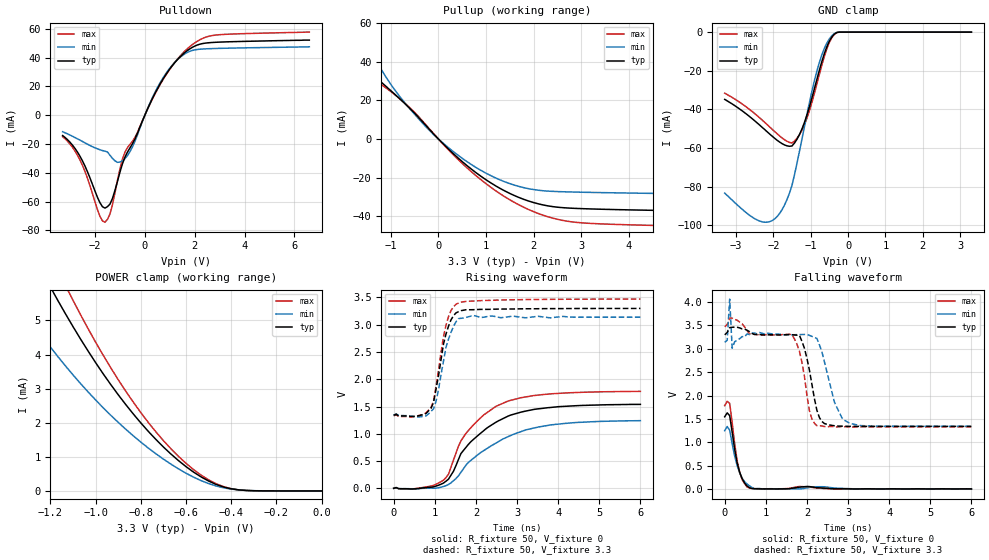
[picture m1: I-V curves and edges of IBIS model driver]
| IBIS file test.ibs created by PYS2IBIS3
| Missouri S&T EMC Lab
[IBIS Ver] 6.0
[File Name] test.ibs
[File Rev] 0
[Date] November 17, 2025
[Source] Netlist generated by Grok
[Notes] I really wouldn't try to use this driver. It's really bad.
 You can put blank lines in any of these sections.
[Disclaimer] This file is only for demonstration purposes. It describes a really crummy driver.
[Copyright] Missouri S&T EMC Lab
[Component] MCM Driver 1
[Manufacturer] MegaFLOPS Inc.
[Package]
| variable   typ   min   max
R_pkg 0 NA NA
L_pkg 0H NA NA
C_pkg 0F NA NA
[Pin]  signal_name   model_name   R_pin   L_pin   C_pin
vss   vss   GND
vdd   vdd   POWER
| oe oe dummy
| in in dummy
out   out   driver
| End of Component
| Models and submodels in the file (1): driver (I/O)
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[Model] driver
Model_type I/O
Polarity Non-Inverting
Enable Active-High
Vinl  = 0.8V
Vinh  = 2V
C_comp 1.2000pF 1.0000pF 1.4000pF
[Temperature Range] 27.0000 100.0000 0.0000
[Voltage Range] 3.3000V 3.0000V 3.6000V
[Pullup Reference] 3.3000V 3.0000V 3.6000V
[Pulldown Reference] 0V 0V 0V
[POWER Clamp Reference] 3.3000V 3.0000V 3.6000V
[GND Clamp Reference] 0V 0V 0V
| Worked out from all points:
|   slope of the pulldown table from 0 to 0.495 V, typ, clamps not added: 27.4 ohm
|   slope of the pullup table from 0 to 0.495 V, typ, clamps not added: 42.7 ohm
|   GND clamp passes 1 mA (typ) near -0.36 V on its own axis
|   POWER clamp passes 1 mA (typ) near -0.65 V on its own axis
|   rising waveform, R_fixture 50, V_fixture 0: 20-80 % time 1.08ns typ, 1.33ns min, 956ps max; typ from 0 V to 1.54 V
|   rising waveform, R_fixture 50, V_fixture 3.3: 20-80 % time 298ps typ, 295ps min, 288ps max; typ from 1.34 V to 3.3 V
|   falling waveform, R_fixture 50, V_fixture 0: 20-80 % time 207ps typ, 238ps min, 183ps max; typ from 1.54 V to -0.001 V
|   falling waveform, R_fixture 50, V_fixture 3.3: 20-80 % time 263ps typ, 344ps min, 266ps max; typ from 3.3 V to 1.34 V
[Pulldown]
| Voltage   I(typ)   I(min)   I(max)
-3.3V     -14.11mA   -11.49mA   -14.92mA
-2.6V     -28.62mA   -17.33mA   -31.26mA
-1.8V     -60.89mA   -24.01mA   -70.36mA
-1.6V     -64.58mA   -24.99mA   -74.37mA
-1.3V     -57.87mA   -29.98mA   -62.22mA
-1V       -39.62mA   -32.58mA   -37.38mA
-800mV    -29.26mA   -30.26mA   -25.73mA
-400mV    -16.61mA   -18.23mA   -15.56mA
600mV     21.34mA    22.16mA    20.91mA
1.7V      44.86mA    43.6mA     46.12mA
2.8V      50.65mA    46.37mA    55.62mA
6.6V      52.2mA     47.56mA    57.78mA
[Pullup]
| Voltage   I(typ)   I(min)   I(max)
-3.3V     52.9mA     288mA      32.03mA
-2.9V     57.26mA    200.3mA    40.86mA
-2.5V     55.97mA    137.1mA    43.93mA
-2.2V     50.87mA    101.5mA    42.91mA
-1.7V     40.21mA    61.42mA    36.21mA
-1V       25.06mA    28.32mA    24.59mA
-200mV    5.278mA    4.74mA     5.561mA
600mV     -13.78mA   -11.72mA   -14.92mA
1.5V      -28.2mA    -23.1mA    -31.5mA
2.2V      -34.15mA   -26.79mA   -39.49mA
2.9V      -35.95mA   -27.49mA   -43.18mA
6.6V      -37.71mA   -28.71mA   -45.68mA
[GND Clamp]
| Voltage   I(typ)   I(min)   I(max)
-3.3V     -34.82mA   -83.32mA   -31.62mA
-2.367V   -48.08mA   -97.77mA   -44.32mA
-2.1V     -52.69mA   -98.1mA    -49.02mA
-1.833V   -56.87mA   -93.93mA   -53.7mA
-1.633V   -58.86mA   -86.63mA   -56.5mA
-1.5V     -58.92mA   -79.34mA   -57.37mA
-1.233V   -50.13mA   -55.35mA   -50.74mA
-1.033V   -38.66mA   -36.46mA   -40.67mA
-766.7mV  -19.68mA   -15.62mA   -21.83mA
-566.7mV  -7.562mA   -5.625mA   -8.589mA
-366.7mV  -1.04mA    -747.4uA   -1.186mA
3.3V      806.1pA    7.276uA    187.3pA
[POWER Clamp]
| Voltage   I(typ)   I(min)   I(max)
-3.3V     69.1mA     63.7mA     73.07mA
-1.367V   8.162mA    5.773mA    9.455mA
-1.2V     5.986mA    4.223mA    6.947mA
-1.167V   5.586mA    3.941mA    6.483mA
-1.133V   5.198mA    3.669mA    6.033mA
-1.1V     4.823mA    3.406mA    5.596mA
-966.7mV  3.44mA     2.442mA    3.986mA
-833.3mV  2.26mA     1.618mA    2.607mA
-700mV    1.29mA     934.1uA    1.477mA
-566.7mV  553.4uA    405uA      627uA
-400mV    62.27uA    53.24uA    65.79uA
0V        806.1pA    6.115nA    316.9pA
[Ramp]
| variable   typ   min   max
dV/dt_r 0.9240/1.073n 0.7452/1.317n 1.0674/0.9471n
dV/dt_f 1.1772/0.2599n 1.0908/0.3303n 1.2714/0.2433n
R_load = 50
[Rising Waveform]
R_fixture = 50
V_fixture = 0
|time   V(typ)   V(min)   V(max)
0s        7.302nV    59.67nV    2.904nV
727.3ps   9.039mV    602.8uV    17.93mV
1.212ns   96.68mV    34.06mV    148.8mV
1.333ns   168.2mV    69.96mV    258.4mV
1.576ns   528.4mV    229.3mV    771.6mV
1.758ns   750.4mV    423.6mV    1.008V
2.182ns   1.052V     687.8mV    1.34V
2.788ns   1.326V     949mV      1.602V
3.818ns   1.483V     1.163V     1.732V
6ns       1.54V      1.242V     1.778V
[Rising Waveform]
R_fixture = 50
V_fixture = 3.3
|time   V(typ)   V(min)   V(max)
0s        1.338V     1.342V     1.329V
545.5ps   1.321V     1.313V     1.323V
909.1ps   1.468V     1.412V     1.483V
969.7ps   1.577V     1.458V     1.601V
1.03ns    1.818V     1.595V     1.873V
1.273ns   2.829V     2.587V     2.992V
1.394ns   3.089V     2.859V     3.259V
1.515ns   3.217V     3.052V     3.376V
1.939ns   3.276V     3.169V     3.435V
6ns       3.3V       3.139V     3.471V
[Falling Waveform]
R_fixture = 50
V_fixture = 0
|time   V(typ)   V(min)   V(max)
0s        1.545V     1.247V     1.783V
60.6ps    1.629V     1.337V     1.876V
121.2ps   1.57V      1.256V     1.832V
242.4ps   849mV      703.4mV    964.7mV
303ps     555.8mV    495.8mV    601.8mV
363.6ps   358.4mV    345.9mV    356.6mV
484.8ps   127.2mV    153.4mV    112.7mV
606.1ps   23.87mV    62.23mV    17.1mV
727.3ps   5.577mV    -3.857mV   3.185mV
6ns       -692.5uV   2.444uV    -143.6uV
[Falling Waveform]
R_fixture = 50
V_fixture = 3.3
|time   V(typ)   V(min)   V(max)
0s        3.3V       3.139V     3.472V
60.6ps    3.35V      3.181V     3.519V
121.2ps   3.455V     4.066V     3.661V
181.8ps   3.462V     3.014V     3.656V
1.636ns   3.301V     3.302V     3.303V
1.939ns   3.011V     3.308V     2.408V
2.061ns   2.544V     3.288V     1.675V
2.242ns   1.683V     3.223V     1.354V
2.909ns   1.343V     1.471V     1.332V
6ns       1.338V     1.341V     1.327V
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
